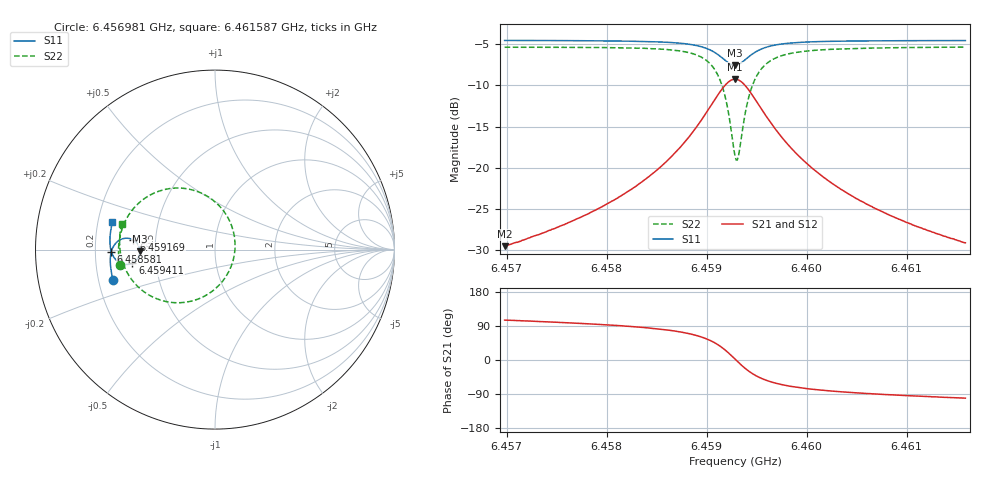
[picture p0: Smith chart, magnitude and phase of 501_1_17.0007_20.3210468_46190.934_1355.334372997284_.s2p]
#  HZ  S  RI  R  50.00
! Rohde & Schwarz Vector Network Analyzer
! Rohde-Schwarz,ZNB20-2Port,1311601062101988,3.16
! Created: UTC 3/20/2024, 11:14:35 PM
! freq[Hz]  re:S11  im:S11  re:S21  im:S21  re:S12  im:S12  re:S22  im:S22
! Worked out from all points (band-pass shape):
!   401 points, 6.456981 GHz to 6.461587 GHz, reference 50 ohm
!   highest |S21| = -9.25 dB at 6.459284 GHz (marker M1); lowest = -29.5 dB at 6.456981 GHz (marker M2)
!   |S21| within 3 dB of the highest: 6.459054 GHz to 6.459515 GHz (461 kHz wide, 0.00714 % of centre)
!   lowest |S11| = -7.6 dB at 6.459284 GHz (marker M3), VSWR 2.44, Z = 20.5 - j0.462 ohm
!   |S11| at or under -10 dB: nowhere
!   |S22| runs from -19.0 to -5.4 dB; largest |S21 - S12| = 0.014
!   S11 on the Smith chart (normalised r, x): 6.456981 GHz: 0.26, -0.14; 6.458581 GHz: 0.27, -0.01; 6.459169 GHz: 0.37, +0.05; 6.459411 GHz: 0.37, -0.07; 6.461587 GHz: 0.26, +0.12
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6.4569808e9  -0.5667 -0.1716  -0.00882 0.0324  -0.00718 0.0324  -0.5318 -0.0846
6.4577523e9  -0.5807 -0.1043  -0.0056 0.0503  -0.00309 0.0497  -0.5373 0.00579
6.4581669e9  -0.5835 -0.0628  -6.51e-05 0.0691  0.00332 0.0677  -0.5296 0.0709
6.4585238e9  -0.5798 -0.0204  0.0142 0.0985  0.0182 0.0958  -0.5039 0.1507
6.4585814e9  -0.578 -0.0126  0.0185 0.1053  0.0225 0.1023  -0.4958 0.1673
6.4587887e9  -0.565 0.0194  0.0458 0.1375  0.05 0.1328  -0.4444 0.2399
6.4589384e9  -0.5425 0.0457  0.0911 0.1681  0.0944 0.1614  -0.3612 0.3042
6.4590766e9  -0.4989 0.0633  0.1779 0.1847  0.1789 0.1773  -0.2024 0.3431
6.4591687e9  -0.4545 0.0532  0.2676 0.1536  0.2677 0.1479  -0.0363 0.2934
6.4592148e9  -0.4333 0.0344  0.3111 0.1111  0.3123 0.106  0.0464 0.2174
6.4592838e9  -0.4185 -0.0093  0.3445 0.0147  0.3481 0.00781  0.1117 0.0383
6.4592954e9  -0.4189 -0.0175  0.3444 -0.00301  0.3482 -0.0106  0.1115 0.0048
6.4593184e9  -0.4223 -0.033  0.339 -0.0378  0.3429 -0.0467  0.1007 -0.0611
6.4593645e9  -0.4378 -0.059  0.3107 -0.0977  0.3129 -0.1093  0.0438 -0.1742
6.4594105e9  -0.4597 -0.0753  0.2689 -0.1386  0.2681 -0.1519  -0.0409 -0.2494
6.4595026e9  -0.503 -0.0824  0.1842 -0.1701  0.1781 -0.1816  -0.2096 -0.2962
6.4596523e9  -0.5468 -0.0619  0.0962 -0.1564  0.0878 -0.1627  -0.3774 -0.2471
6.4598136e9  -0.5683 -0.0343  0.0514 -0.1286  0.0437 -0.1313  -0.4579 -0.1751
6.4600554e9  -0.5811 0.00131  0.0221 -0.0971  0.0164 -0.0977  -0.5061 -0.0926
6.4604239e9  -0.5855 0.0448  0.00553 -0.0689  0.00161 -0.0686  -0.5283 -0.00918
6.4608269e9  -0.5835 0.0852  -0.00145 -0.0518  -0.00432 -0.0509  -0.5318 0.0546
6.4615869e9  -0.5712 0.1524  -0.00649 -0.0346  -0.00817 -0.0336  -0.5203 0.1444
